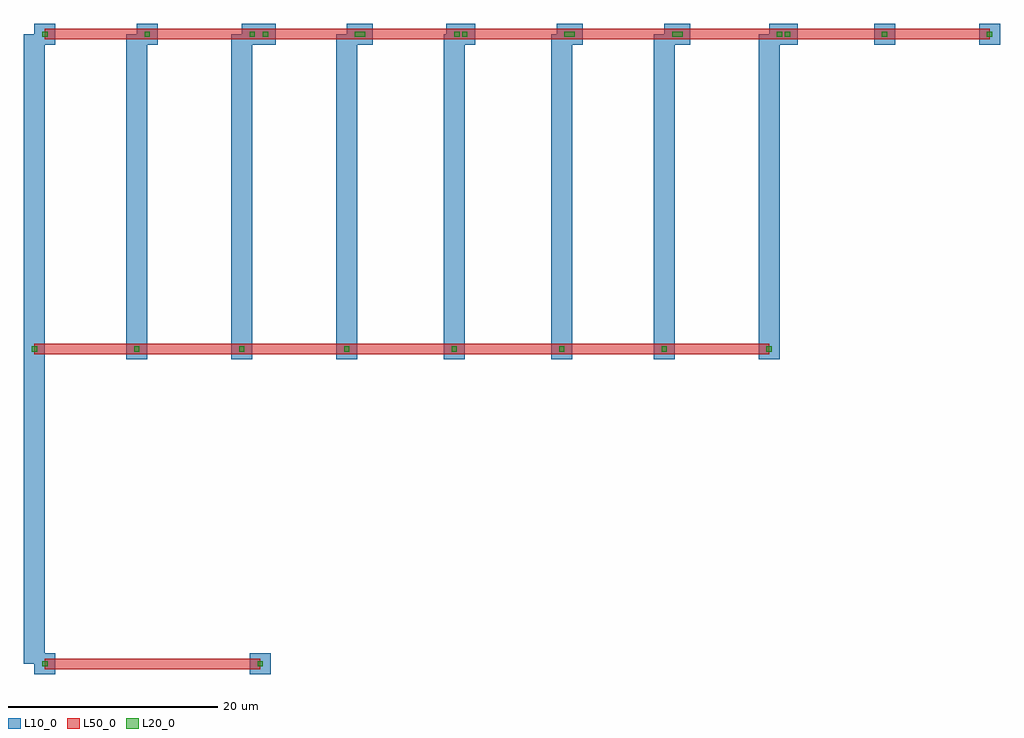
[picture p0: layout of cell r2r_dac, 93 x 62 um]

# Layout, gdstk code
import gdstk
lib = gdstk.Library(unit=1e-6, precision=1e-09)
def R(c, l, rs):  # rectangles x0, y0, x1, y1
    for r in rs: c.add(gdstk.rectangle(r[:2], r[2:], *l))
def A(c, l, x, y, w, h, nx, ny, dx, dy):  # array of equal rectangles
    R(c, l, [(x+i*dx, y+j*dy, x+i*dx+w, y+j*dy+h) for i in range(nx) for j in range(ny)])
L10_0 = (10, 0)
L20_0 = (20, 0)
L50_0 = (50, 0)

r_sp0 = lib.new_cell('R_sp0')
R(r_sp0, L10_0, [(-1,-0.5,1,1.5), (8.75,-0.5,10.75,1.5)])
R(r_sp0, L20_0, [(-0.25,0.25,0.25,0.75), (9.5,0.25,10,0.75)])
R(r_sp0, L50_0, [(0,0,9.75,1)])

r_sp1 = lib.new_cell('R_sp1')
R(r_sp1, L10_0, [(-1,-0.5,1,1.5), (9,-0.5,11,1.5)])
R(r_sp1, L20_0, [(-0.25,0.25,0.25,0.75), (9.75,0.25,10.25,0.75)])
R(r_sp1, L50_0, [(0,0,10,1)])

r_sp3 = lib.new_cell('R_sp3')
R(r_sp3, L10_0, [(-1,-0.5,1,1.5), (9.25,-0.5,11.25,1.5)])
R(r_sp3, L20_0, [(-0.25,0.25,0.25,0.75), (10,0.25,10.5,0.75)])
R(r_sp3, L50_0, [(0,0,10.25,1)])

r_in0 = lib.new_cell('R_in0')
R(r_in0, L10_0, [(-1,-0.5,1,1.5), (20,-0.5,22,1.5)])
R(r_in0, L20_0, [(-0.25,0.25,0.25,0.75), (20.75,0.25,21.25,0.75)])
R(r_in0, L50_0, [(0,0,21,1)])

r_term = lib.new_cell('R_term')
R(r_term, L10_0, [(-1,-0.5,1,1.5), (19.5,-0.5,21.5,1.5)])
R(r_term, L20_0, [(-0.25,0.25,0.25,0.75), (20.25,0.25,20.75,0.75)])
R(r_term, L50_0, [(0,0,20.5,1)])

r_in2 = lib.new_cell('R_in2')
R(r_in2, L10_0, [(-1,-0.5,1,1.5), (18.5,-0.5,20.5,1.5)])
R(r_in2, L20_0, [(-0.25,0.25,0.25,0.75), (19.25,0.25,19.75,0.75)])
R(r_in2, L50_0, [(0,0,19.5,1)])

r_in3 = lib.new_cell('R_in3')
R(r_in3, L10_0, [(-1,-0.5,1,1.5), (19,-0.5,21,1.5)])
R(r_in3, L20_0, [(-0.25,0.25,0.25,0.75), (19.75,0.25,20.25,0.75)])
R(r_in3, L50_0, [(0,0,20,1)])

r2r_dac = lib.new_cell('r2r_dac')
A(r2r_dac, L10_0, 8.75, 0.5, 2, 30, 3, 1, 10, 0)
R(r2r_dac, L10_0, [(-1,-29.5,1,0.5), (-1,0.5,1,30.5), (39,0.5,41,30.5), (49.25,0.5,51.25,30.5), (59,0.5,61,30.5), (69,0.5,71,30.5)])
r2r_dac.add(gdstk.Reference(r_sp0, (0,0)))
r2r_dac.add(gdstk.Reference(r_sp1, (9.75,0)))
r2r_dac.add(gdstk.Reference(r_sp1, (19.75,0)))
r2r_dac.add(gdstk.Reference(r_sp3, (29.75,0)))
r2r_dac.add(gdstk.Reference(r_sp3, (40,0)))
r2r_dac.add(gdstk.Reference(r_sp0, (50.25,0)))
r2r_dac.add(gdstk.Reference(r_sp1, (60,0)))
r2r_dac.add(gdstk.Reference(r_in0, (1,30)))
r2r_dac.add(gdstk.Reference(r_term, (10.75,30)))
r2r_dac.add(gdstk.Reference(r_in2, (20.75,30)))
r2r_dac.add(gdstk.Reference(r_in3, (30.75,30)))
r2r_dac.add(gdstk.Reference(r_term, (41,30)))
r2r_dac.add(gdstk.Reference(r_term, (51.25,30)))
r2r_dac.add(gdstk.Reference(r_in3, (61,30)))
r2r_dac.add(gdstk.Reference(r_in3, (71,30)))
r2r_dac.add(gdstk.Reference(r_term, (1,-30)))

lib.write_gds('r2r_dac.gds')
